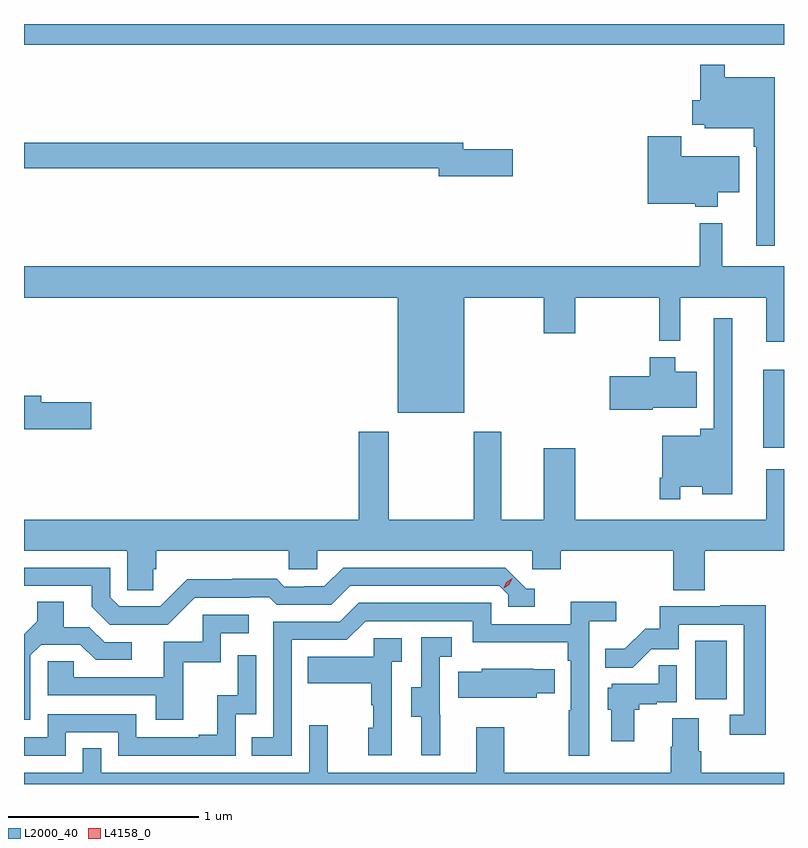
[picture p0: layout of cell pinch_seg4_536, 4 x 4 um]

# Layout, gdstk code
import gdstk
lib = gdstk.Library(unit=1e-6, precision=1e-09)
def R(c, l, rs):  # rectangles x0, y0, x1, y1
    for r in rs: c.add(gdstk.rectangle(r[:2], r[2:], *l))
def P(c, l, *ps):  # polygons
    for p in ps: c.add(gdstk.Polygon(p, *l))
L2000_40 = (2000, 40)
L4158_0 = (4158, 0)

pinch_seg4_536 = lib.new_cell('pinch_seg4_536')
R(pinch_seg4_536, L2000_40, [(1124.846,777.39,1125.01,777.697), (1125.203,778.715,1125.312,779.125), (1121.312,780.836,1125.312,780.944)])
P(pinch_seg4_536, L2000_40, [(1125.262,780.664),(1125.001,780.664),(1125.001,780.73),(1124.872,780.73),(1124.872,780.543),(1124.828,780.543),(1124.828,780.413),(1124.895,780.413),(1124.895,780.395),(1125.153,780.395),(1125.153,780.299),(1125.165,780.299),(1125.165,779.778),(1125.262,779.778)],
  [(1124.962,780.059),(1125.076,780.059),(1125.076,780.247),(1124.772,780.247),(1124.772,780.352),(1124.594,780.352),(1124.594,779.999),(1124.844,779.999),(1124.844,779.981),(1124.962,779.981)],
  [(1123.885,780.284),(1123.624,780.284),(1123.624,780.32),(1121.312,780.32),(1121.312,780.184),(1123.496,780.184),(1123.496,780.142),(1123.885,780.142)],
  [(1123.63,779.504),(1124.048,779.504),(1124.048,779.316),(1124.212,779.316),(1124.212,779.504),(1124.655,779.504),(1124.655,779.276),(1124.765,779.276),(1124.765,779.504),(1125.218,779.504),(1125.218,779.271),(1125.312,779.271),(1125.312,779.668),(1124.987,779.668),(1124.987,779.896),(1124.869,779.896),(1124.869,779.668),(1121.312,779.668),(1121.312,779.504),(1123.28,779.504),(1123.28,778.898),(1123.63,778.898)],
  [(1124.766,778.508),(1124.882,778.508),(1124.882,778.469),(1125.04,778.469),(1125.04,779.395),(1124.943,779.395),(1124.943,778.813),(1124.87,778.813),(1124.87,778.777),(1124.67,778.777),(1124.67,778.555),(1124.658,778.555),(1124.658,778.443),(1124.766,778.443)],
  [(1124.622,778.925),(1124.854,778.925),(1124.854,779.113),(1124.74,779.113),(1124.74,779.191),(1124.606,779.191),(1124.606,779.091),(1124.394,779.091),(1124.394,778.913),(1124.622,778.913)],
  [(1121.665,778.952),(1121.404,778.952),(1121.404,778.988),(1121.312,778.988),(1121.312,778.81),(1121.665,778.81)],
  [(1121.993,778.074),(1122.008,778.074),(1122.008,778.172),(1122.705,778.172),(1122.705,778.074),(1122.855,778.074),(1122.855,778.172),(1123.986,778.172),(1123.986,778.074),(1124.138,778.074),(1124.138,778.172),(1124.729,778.172),(1124.729,777.964),(1124.894,777.964),(1124.894,778.172),(1125.312,778.172),(1125.312,778.6),(1125.218,778.6),(1125.218,778.336),(1124.212,778.336),(1124.212,778.711),(1124.048,778.711),(1124.048,778.336),(1123.825,778.336),(1123.825,778.798),(1123.678,778.798),(1123.678,778.336),(1123.233,778.336),(1123.233,778.798),(1123.073,778.798),(1123.073,778.336),(1121.312,778.336),(1121.312,778.172),(1121.856,778.172),(1121.856,777.964),(1121.993,777.964)],
  [(1122.21,777.924),(1122.503,777.924),(1122.503,777.927),(1122.602,777.927),(1122.641,777.888),(1122.93,777.888),(1123.029,777.987),(1123.812,777.987),(1123.86,777.939),(1123.86,777.876),(1123.999,777.876),(1123.999,777.972),(1123.956,777.972),(1123.845,778.083),(1122.992,778.083),(1122.893,777.984),(1122.786,777.984),(1122.786,777.981),(1122.683,777.981),(1122.641,778.024),(1122.408,778.024),(1122.408,778.021),(1122.172,778.021),(1122.03,777.879),(1121.814,777.879),(1121.766,777.927),(1121.766,778.083),(1121.312,778.083),(1121.312,777.987),(1121.669,777.987),(1121.669,777.877),(1121.763,777.783),(1122.069,777.783)],
  [(1122.72,777.702),(1123.011,777.702),(1123.11,777.801),(1123.674,777.801),(1123.674,777.689),(1124.173,777.689),(1124.173,777.593),(1124.19,777.593),(1124.19,777.332),(1124.178,777.332),(1124.178,777.093),(1124.286,777.093),(1124.286,777.8),(1124.428,777.8),(1124.428,777.902),(1124.189,777.902),(1124.189,777.786),(1123.77,777.786),(1123.77,777.897),(1123.073,777.897),(1122.974,777.798),(1122.624,777.798),(1122.624,777.189),(1122.511,777.189),(1122.511,777.093),(1122.72,777.093)],
  [(1121.346,777.621),(1121.403,777.678),(1121.609,777.678),(1121.69,777.597),(1121.878,777.597),(1121.878,777.69),(1121.736,777.69),(1121.656,777.77),(1121.521,777.77),(1121.521,777.902),(1121.381,777.902),(1121.381,777.8),(1121.312,777.731),(1121.312,777.282),(1121.346,777.282)],
  [(1125.215,777.884),(1124.977,777.884),(1124.977,777.879),(1124.659,777.879),(1124.659,777.762),(1124.582,777.762),(1124.475,777.655),(1124.371,777.655),(1124.371,777.556),(1124.515,777.556),(1124.613,777.654),(1124.757,777.654),(1124.757,777.783),(1125.099,777.783),(1125.099,777.309),(1125.027,777.309),(1125.027,777.204),(1125.215,777.204)],
  [(1122.149,777.585),(1122.348,777.585),(1122.348,777.738),(1122.496,777.738),(1122.496,777.834),(1122.252,777.834),(1122.252,777.693),(1122.047,777.693),(1122.047,777.507),(1121.573,777.507),(1121.573,777.591),(1121.436,777.591),(1121.436,777.411),(1122.005,777.411),(1122.005,777.282),(1122.149,777.282)],
  [(1123.502,777.309),(1123.5,777.309),(1123.5,777.613),(1123.564,777.613),(1123.564,777.716),(1123.404,777.716),(1123.404,777.453),(1123.349,777.453),(1123.349,777.298),(1123.403,777.298),(1123.403,777.096),(1123.502,777.096)],
  [(1123.248,777.587),(1123.3,777.587),(1123.3,777.711),(1123.152,777.711),(1123.152,777.613),(1122.805,777.613),(1122.805,777.473),(1123.14,777.473),(1123.14,777.359),(1123.15,777.359),(1123.15,777.24),(1123.124,777.24),(1123.124,777.096),(1123.248,777.096)],
  [(1121.532,777.216),(1121.808,777.216),(1121.808,777.093),(1122.426,777.093),(1122.426,777.312),(1122.534,777.312),(1122.534,777.622),(1122.438,777.622),(1122.438,777.41),(1122.329,777.41),(1122.329,777.202),(1122.233,777.202),(1122.233,777.189),(1121.904,777.189),(1121.904,777.312),(1121.436,777.312),(1121.436,777.189),(1121.312,777.189),(1121.312,777.093),(1121.532,777.093)],
  [(1124.524,777.336),(1124.55,777.336),(1124.55,777.363),(1124.642,777.363),(1124.642,777.375),(1124.748,777.375),(1124.748,777.569),(1124.653,777.569),(1124.653,777.471),(1124.406,777.471),(1124.406,777.45),(1124.384,777.45),(1124.384,777.336),(1124.402,777.336),(1124.402,777.168),(1124.524,777.168)],
  [(1124.011,777.421),(1124.105,777.421),(1124.105,777.549),(1123.994,777.549),(1123.994,777.55),(1123.722,777.55),(1123.722,777.535),(1123.597,777.535),(1123.597,777.398),(1124.011,777.398)],
  [(1125.312,777.004),(1124.876,777.004),(1124.876,777.116),(1124.863,777.116),(1124.863,777.29),(1124.723,777.29),(1124.723,777.141),(1124.716,777.141),(1124.716,777.004),(1123.839,777.004),(1123.839,777.244),(1123.691,777.244),(1123.691,777.004),(1122.911,777.004),(1122.911,777.253),(1122.813,777.253),(1122.813,777.004),(1121.718,777.004),(1121.718,777.131),(1121.622,777.131),(1121.622,777.004),(1121.312,777.004),(1121.312,776.944),(1125.312,776.944)])
P(pinch_seg4_536, L4158_0, [(1123.836,777.973),(1123.836,777.973),(1123.851,778.006),(1123.881,778.026),(1123.882,778.026),(1123.882,778.026),(1123.866,777.993),(1123.836,777.973)])

lib.write_gds('pinch_seg4_536.gds')
